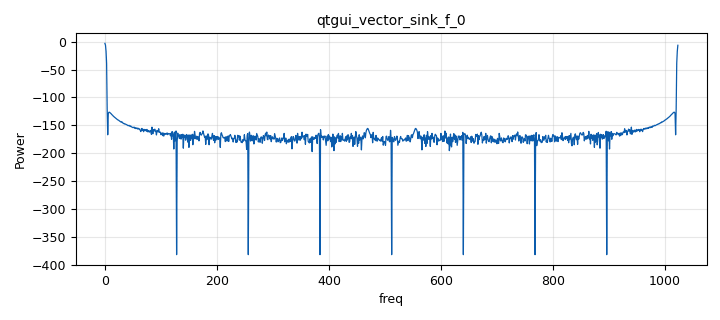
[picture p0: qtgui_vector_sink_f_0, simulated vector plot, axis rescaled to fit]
<?xml version='1.0' encoding='utf-8'?>
<?grc format='1' created='3.7.7'?>
<flow_graph>
<block>
<key>variable_qtgui_entry</key>
<param><key>id</key><value>freq</value></param>
<param><key>type</key><value>real</value></param>
<param><key>value</key><value>0</value></param>
</block>
<block>
<key>variable</key>
<param><key>id</key><value>samp_rate</value></param>
<param><key>value</key><value>32000</value></param>
</block>
<block>
<key>analog_sig_source_x</key>
<param><key>id</key><value>analog_sig_source_x_0</value></param>
<param><key>type</key><value>complex</value></param>
<param><key>samp_rate</key><value>samp_rate</value></param>
<param><key>waveform</key><value>analog.GR_COS_WAVE</value></param>
<param><key>freq</key><value>freq</value></param>
<param><key>amp</key><value>1</value></param>
<param><key>offset</key><value>0</value></param>
</block>
<block>
<key>options</key>
<param><key>id</key><value>top_block</value></param>
<param><key>generate_options</key><value>qt_gui</value></param>
<param><key>category</key><value>Custom</value></param>
</block>
<block>
<key>logpwrfft_x</key>
<param><key>id</key><value>logpwrfft_x_0</value></param>
<param><key>type</key><value>complex</value></param>
<param><key>sample_rate</key><value>samp_rate</value></param>
<param><key>fft_size</key><value>1024</value></param>
<param><key>ref_scale</key><value>2</value></param>
<param><key>frame_rate</key><value>30</value></param>
<param><key>average</key><value>False</value></param>
<param><key>avg_alpha</key><value>1.0</value></param>
</block>
<block>
<key>qtgui_vector_sink_f</key>
<param><key>id</key><value>qtgui_vector_sink_f_0</value></param>
<param><key>vlen</key><value>1024</value></param>
<param><key>x_start</key><value>0</value></param>
<param><key>x_step</key><value>1.0</value></param>
<param><key>x_axis_label</key><value>"freq"</value></param>
<param><key>y_axis_label</key><value>"Power"</value></param>
<param><key>x_units</key><value>"bucket"</value></param>
<param><key>y_units</key><value>"dB"</value></param>
<param><key>showports</key><value>True</value></param>
</block>
<block>
<key>blocks_throttle</key>
<param><key>id</key><value>blocks_throttle_0</value></param>
<param><key>type</key><value>complex</value></param>
<param><key>samples_per_second</key><value>samp_rate</value></param>
</block>
<connection><source_block_id>analog_sig_source_x_0</source_block_id><sink_block_id>blocks_throttle_0</sink_block_id><source_key>0</source_key><sink_key>0</sink_key></connection>
<connection><source_block_id>blocks_throttle_0</source_block_id><sink_block_id>logpwrfft_x_0</sink_block_id><source_key>0</source_key><sink_key>0</sink_key></connection>
<connection><source_block_id>logpwrfft_x_0</source_block_id><sink_block_id>qtgui_vector_sink_f_0</sink_block_id><source_key>0</source_key><sink_key>0</sink_key></connection>
</flow_graph>
